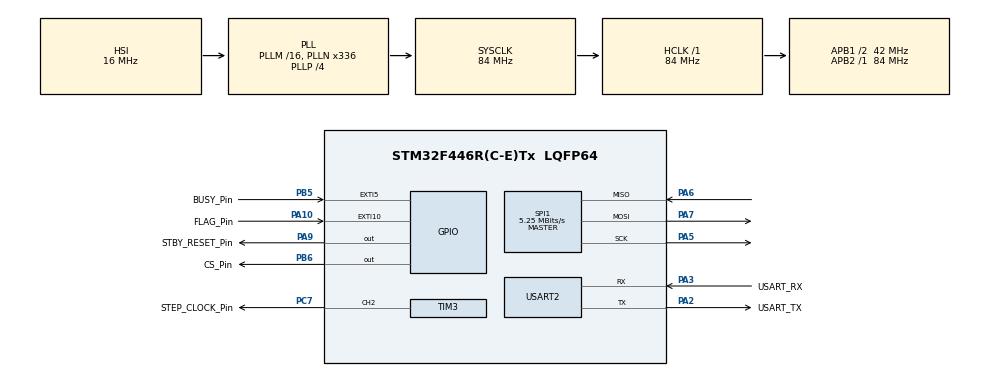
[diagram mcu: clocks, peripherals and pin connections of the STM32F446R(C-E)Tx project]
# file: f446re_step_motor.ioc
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Mcu.Family=STM32F4
Mcu.Name=STM32F446R(C-E)Tx
Mcu.Package=LQFP64
NVIC.EXTI15_10_IRQn=true\:0\:0\:false\:false\:true\:true\:true\:true
NVIC.EXTI9_5_IRQn=true\:0\:0\:false\:false\:true\:true\:true\:true
NVIC.PriorityGroup=NVIC_PRIORITYGROUP_0
NVIC.TIM3_IRQn=true\:0\:0\:false\:false\:true\:true\:true\:true
NVIC.USART2_IRQn=true\:0\:0\:false\:false\:true\:true\:true\:true
PA10.GPIO_Label=FLAG_Pin
PA10.GPIO_ModeDefaultEXTI=GPIO_MODE_IT_FALLING
PA10.Signal=GPXTI10
PA13.GPIO_Label=TMS
PA13.Mode=Serial_Wire
PA13.Signal=SYS_JTMS-SWDIO
PA14.GPIO_Label=TCK
PA14.Mode=Serial_Wire
PA14.Signal=SYS_JTCK-SWCLK
PA2.GPIO_Label=USART_TX
PA2.Mode=Asynchronous
PA2.Signal=USART2_TX
PA3.GPIO_Label=USART_RX
PA3.Mode=Asynchronous
PA3.Signal=USART2_RX
PA5.Mode=Full_Duplex_Master
PA5.Signal=SPI1_SCK
PA6.Mode=Full_Duplex_Master
PA6.Signal=SPI1_MISO
PA7.Mode=Full_Duplex_Master
PA7.Signal=SPI1_MOSI
PA9.GPIO_Label=STBY_RESET_Pin
PA9.PinState=GPIO_PIN_SET
PA9.Signal=GPIO_Output
PB5.GPIO_Label=BUSY_Pin
PB5.GPIO_ModeDefaultEXTI=GPIO_MODE_IT_FALLING
PB5.Signal=GPXTI5
PB6.GPIO_Label=CS_Pin
PB6.PinState=GPIO_PIN_SET
PB6.Signal=GPIO_Output
PC7.GPIO_Label=STEP_CLOCK_Pin
PC7.Signal=S_TIM3_CH2
ProjectManager.HeapSize=0x200
ProjectManager.StackSize=0x400
ProjectManager.TargetToolchain=STM32CubeIDE
RCC.48MHZClocksFreq_Value=84000000
RCC.AHBFreq_Value=84000000
RCC.APB1CLKDivider=RCC_HCLK_DIV2
RCC.APB1Freq_Value=42000000
RCC.APB1TimFreq_Value=84000000
RCC.APB2Freq_Value=84000000
RCC.APB2TimFreq_Value=84000000
RCC.CortexFreq_Value=84000000
RCC.FLatency-AdvancedSettings=FLASH_LATENCY_2
RCC.HCLKFreq_Value=84000000
RCC.HSE_VALUE=8000000
RCC.HSI_VALUE=16000000
RCC.PLLN=336
RCC.PLLP=RCC_PLLP_DIV4
RCC.SYSCLKFreq_VALUE=84000000
RCC.SYSCLKSource=RCC_SYSCLKSOURCE_PLLCLK
RCC.USBFreq_Value=168000000
RCC.VCOOutputFreq_Value=336000000
SH.S_TIM3_CH2.0=TIM3_CH2,PWM Generation2 CH2
SPI1.BaudRatePrescaler=SPI_BAUDRATEPRESCALER_16
SPI1.CLKPhase=SPI_PHASE_2EDGE
SPI1.CalculateBaudRate=5.25 MBits/s
SPI1.Direction=SPI_DIRECTION_2LINES
SPI1.Mode=SPI_MODE_MASTER
SPI1.VirtualType=VM_MASTER
TIM3.Channel-PWM\ Generation2\ CH2=TIM_CHANNEL_2
USART2.VirtualMode=VM_ASYNC
board=NUCLEO-F446RE

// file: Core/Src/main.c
/* USER CODE BEGIN Header */
/**
  ******************************************************************************
  * @file           : main.c
  * @brief          : Main program body
  ******************************************************************************
  * @attention
  *
  * Copyright (c) 2025 STMicroelectronics.
  * All rights reserved.
  *
  * This software is licensed under terms that can be found in the LICENSE file
  * in the root directory of this software component.
  * If no LICENSE file comes with this software, it is provided AS-IS.
  *
  ******************************************************************************
  */
/* USER CODE END Header */
#include "main.h"

/* USER CODE BEGIN Includes */
#include "x_nucleo_ihmxx.h"
#include "x_nucleo_ihm03a1_stm32f4xx.h"
#include "powerstep01.h"
#include <string.h>
#include <stdio.h>
/* USER CODE END Includes */

/* USER CODE BEGIN PD */
#define RX_BUFFER_SIZE 128
#define TX_BUFFER_SIZE 128
#define MAX_MOTOR_STEPS 999999L   // Match GUI max position
#define MIN_MOTOR_STEPS -999999L  // Match GUI min position
#define MAIN_LOOP_DELAY 50        // milliseconds - faster loop for responsiveness
/* USER CODE END PD */

SPI_HandleTypeDef hspi1;

TIM_HandleTypeDef htim3;

UART_HandleTypeDef huart2;

/* USER CODE BEGIN PV */
static volatile uint16_t gLastError;
static uint8_t rx_buffer[RX_BUFFER_SIZE];
static uint8_t tx_buffer[TX_BUFFER_SIZE];
static volatile uint32_t rx_index = 0;
static volatile uint8_t command_ready = 0;

static volatile int32_t motor0_target = 0;
static volatile int32_t motor1_target = 0;
static uint8_t uart_rx_byte;
static uint8_t command_buffer[RX_BUFFER_SIZE];
static volatile uint32_t cmd_index = 0;

// Timing variables for status updates
static volatile uint32_t last_status_update = 0;
static volatile uint32_t system_tick = 0;
/* USER CODE END PV */

void SystemClock_Config(void);
static void MX_GPIO_Init(void);
static void MX_USART2_UART_Init(void);
static void MX_SPI1_Init(void);
static void MX_TIM3_Init(void);
/* USER CODE BEGIN PFP */
static void MyBusyInterruptHandler(void);
static void MyFlagInterruptHandler(void);
static void MyErrorHandler(uint16_t error);

static void UART_SendString(const char *str);
static void UART_ReceiveChar(uint8_t ch);
static void ParseCommand(void);
static void SendMotorStatus(uint8_t motor_id);
static void SendError(uint8_t motor_id, const char *error_type, const char *description);
static void MoveMotorsToPosition(int32_t motor0_pos, int32_t motor1_pos);
static void CheckMotorErrors(uint8_t motor_id);
/* USER CODE END PFP */

int main(void)
{

  /* MCU Configuration--------------------------------------------------------*/

  /* Reset of all peripherals, Initializes the Flash interface and the Systick. */
  HAL_Init();

  /* Configure the system clock */
  SystemClock_Config();

  /* Initialize all configured peripherals */
  MX_GPIO_Init();
  MX_USART2_UART_Init();
  MX_SPI1_Init();
  MX_TIM3_Init();
  /* USER CODE BEGIN 2 */
  BSP_MotorControl_SetNbDevices(BSP_MOTOR_CONTROL_BOARD_ID_POWERSTEP01, 2);
  BSP_MotorControl_Init(BSP_MOTOR_CONTROL_BOARD_ID_POWERSTEP01, NULL);
  BSP_MotorControl_Init(BSP_MOTOR_CONTROL_BOARD_ID_POWERSTEP01, NULL);
  BSP_MotorControl_AttachFlagInterrupt(MyFlagInterruptHandler);
  BSP_MotorControl_AttachBusyInterrupt(MyBusyInterruptHandler);
  BSP_MotorControl_AttachErrorHandler(MyErrorHandler);
  BSP_MotorControl_CmdResetPos(0);
  BSP_MotorControl_CmdResetPos(1);
  HAL_UART_Receive_IT(&huart2, &uart_rx_byte, 1);

  system_tick = 0;
  last_status_update = 0;
  UART_SendString("SYSTEM,READY\n");
  /* USER CODE END 2 */

  /* Infinite loop */
  while (1)
  {

    /* USER CODE BEGIN 3 */
	    // Process incoming commands
	    if (command_ready)
	    {
	      command_ready = 0;
	      ParseCommand();
	    }

	    // Small delay to prevent busy-waiting, but fast enough for responsiveness
	    HAL_Delay(MAIN_LOOP_DELAY);

  }
  /* USER CODE END 3 */
}

void SystemClock_Config(void)
{
  RCC_OscInitTypeDef RCC_OscInitStruct = {0};
  RCC_ClkInitTypeDef RCC_ClkInitStruct = {0};

  /** Configure the main internal regulator output voltage
  */
  __HAL_RCC_PWR_CLK_ENABLE();
  __HAL_PWR_VOLTAGESCALING_CONFIG(PWR_REGULATOR_VOLTAGE_SCALE3);

  /** Initializes the RCC Oscillators according to the specified parameters
  * in the RCC_OscInitTypeDef structure.
  */
  RCC_OscInitStruct.OscillatorType = RCC_OSCILLATORTYPE_HSI;
  RCC_OscInitStruct.HSIState = RCC_HSI_ON;
  RCC_OscInitStruct.HSICalibrationValue = RCC_HSICALIBRATION_DEFAULT;
  RCC_OscInitStruct.PLL.PLLState = RCC_PLL_ON;
  RCC_OscInitStruct.PLL.PLLSource = RCC_PLLSOURCE_HSI;
  RCC_OscInitStruct.PLL.PLLM = 16;
  RCC_OscInitStruct.PLL.PLLN = 336;
  RCC_OscInitStruct.PLL.PLLP = RCC_PLLP_DIV4;
  RCC_OscInitStruct.PLL.PLLQ = 2;
  RCC_OscInitStruct.PLL.PLLR = 2;
  if (HAL_RCC_OscConfig(&RCC_OscInitStruct) != HAL_OK)
  {
    Error_Handler();
  }

  /** Initializes the CPU, AHB and APB buses clocks
  */
  RCC_ClkInitStruct.ClockType = RCC_CLOCKTYPE_HCLK|RCC_CLOCKTYPE_SYSCLK
                              |RCC_CLOCKTYPE_PCLK1|RCC_CLOCKTYPE_PCLK2;
  RCC_ClkInitStruct.SYSCLKSource = RCC_SYSCLKSOURCE_PLLCLK;
  RCC_ClkInitStruct.AHBCLKDivider = RCC_SYSCLK_DIV1;
  RCC_ClkInitStruct.APB1CLKDivider = RCC_HCLK_DIV2;
  RCC_ClkInitStruct.APB2CLKDivider = RCC_HCLK_DIV1;

  if (HAL_RCC_ClockConfig(&RCC_ClkInitStruct, FLASH_LATENCY_2) != HAL_OK)
  {
    Error_Handler();
  }
}

static void MX_SPI1_Init(void)
{

  /* SPI1 parameter configuration*/
  hspi1.Instance = SPI1;
  hspi1.Init.Mode = SPI_MODE_MASTER;
  hspi1.Init.Direction = SPI_DIRECTION_2LINES;
  hspi1.Init.DataSize = SPI_DATASIZE_8BIT;
  hspi1.Init.CLKPolarity = SPI_POLARITY_LOW;
  hspi1.Init.CLKPhase = SPI_PHASE_2EDGE;
  hspi1.Init.NSS = SPI_NSS_SOFT;
  hspi1.Init.BaudRatePrescaler = SPI_BAUDRATEPRESCALER_16;
  hspi1.Init.FirstBit = SPI_FIRSTBIT_MSB;
  hspi1.Init.TIMode = SPI_TIMODE_DISABLE;
  hspi1.Init.CRCCalculation = SPI_CRCCALCULATION_DISABLE;
  hspi1.Init.CRCPolynomial = 10;
  if (HAL_SPI_Init(&hspi1) != HAL_OK)
  {
    Error_Handler();
  }

}

static void MX_TIM3_Init(void)
{

  TIM_MasterConfigTypeDef sMasterConfig = {0};
  TIM_OC_InitTypeDef sConfigOC = {0};

  htim3.Instance = TIM3;
  htim3.Init.Prescaler = 0;
  htim3.Init.CounterMode = TIM_COUNTERMODE_UP;
  htim3.Init.Period = 65535;
  htim3.Init.ClockDivision = TIM_CLOCKDIVISION_DIV1;
  htim3.Init.AutoReloadPreload = TIM_AUTORELOAD_PRELOAD_DISABLE;
  if (HAL_TIM_PWM_Init(&htim3) != HAL_OK)
  {
    Error_Handler();
  }
  sMasterConfig.MasterOutputTrigger = TIM_TRGO_RESET;
  sMasterConfig.MasterSlaveMode = TIM_MASTERSLAVEMODE_DISABLE;
  if (HAL_TIMEx_MasterConfigSynchronization(&htim3, &sMasterConfig) != HAL_OK)
  {
    Error_Handler();
  }
  sConfigOC.OCMode = TIM_OCMODE_PWM1;
  sConfigOC.Pulse = 0;
  sConfigOC.OCPolarity = TIM_OCPOLARITY_HIGH;
  sConfigOC.OCFastMode = TIM_OCFAST_DISABLE;
  if (HAL_TIM_PWM_ConfigChannel(&htim3, &sConfigOC, TIM_CHANNEL_2) != HAL_OK)
  {
    Error_Handler();
  }
  HAL_TIM_MspPostInit(&htim3);

}

static void MX_USART2_UART_Init(void)
{

  huart2.Instance = USART2;
  huart2.Init.BaudRate = 115200;
  huart2.Init.WordLength = UART_WORDLENGTH_8B;
  huart2.Init.StopBits = UART_STOPBITS_1;
  huart2.Init.Parity = UART_PARITY_NONE;
  huart2.Init.Mode = UART_MODE_TX_RX;
  huart2.Init.HwFlowCtl = UART_HWCONTROL_NONE;
  huart2.Init.OverSampling = UART_OVERSAMPLING_16;
  if (HAL_UART_Init(&huart2) != HAL_OK)
  {
    Error_Handler();
  }

}

static void MX_GPIO_Init(void)
{
  GPIO_InitTypeDef GPIO_InitStruct = {0};

  /* GPIO Ports Clock Enable */
  __HAL_RCC_GPIOA_CLK_ENABLE();
  __HAL_RCC_GPIOC_CLK_ENABLE();
  __HAL_RCC_GPIOB_CLK_ENABLE();

  /*Configure GPIO pin Output Level */
  HAL_GPIO_WritePin(STBY_RESET_Pin_GPIO_Port, STBY_RESET_Pin_Pin, GPIO_PIN_SET);

  /*Configure GPIO pin Output Level */
  HAL_GPIO_WritePin(CS_Pin_GPIO_Port, CS_Pin_Pin, GPIO_PIN_SET);

  /*Configure GPIO pin : STBY_RESET_Pin_Pin */
  GPIO_InitStruct.Pin = STBY_RESET_Pin_Pin;
  GPIO_InitStruct.Mode = GPIO_MODE_OUTPUT_PP;
  GPIO_InitStruct.Pull = GPIO_NOPULL;
  GPIO_InitStruct.Speed = GPIO_SPEED_FREQ_LOW;
  HAL_GPIO_Init(STBY_RESET_Pin_GPIO_Port, &GPIO_InitStruct);

  /*Configure GPIO pin : FLAG_Pin_Pin */
  GPIO_InitStruct.Pin = FLAG_Pin_Pin;
  GPIO_InitStruct.Mode = GPIO_MODE_IT_FALLING;
  GPIO_InitStruct.Pull = GPIO_NOPULL;
  HAL_GPIO_Init(FLAG_Pin_GPIO_Port, &GPIO_InitStruct);

  /*Configure GPIO pin : BUSY_Pin_Pin */
  GPIO_InitStruct.Pin = BUSY_Pin_Pin;
  GPIO_InitStruct.Mode = GPIO_MODE_IT_FALLING;
  GPIO_InitStruct.Pull = GPIO_NOPULL;
  HAL_GPIO_Init(BUSY_Pin_GPIO_Port, &GPIO_InitStruct);

  /*Configure GPIO pin : CS_Pin_Pin */
  GPIO_InitStruct.Pin = CS_Pin_Pin;
  GPIO_InitStruct.Mode = GPIO_MODE_OUTPUT_PP;
  GPIO_InitStruct.Pull = GPIO_NOPULL;
  GPIO_InitStruct.Speed = GPIO_SPEED_FREQ_LOW;
  HAL_GPIO_Init(CS_Pin_GPIO_Port, &GPIO_InitStruct);

  /* EXTI interrupt init*/
  HAL_NVIC_SetPriority(EXTI9_5_IRQn, 0, 0);
  HAL_NVIC_EnableIRQ(EXTI9_5_IRQn);

  HAL_NVIC_SetPriority(EXTI15_10_IRQn, 0, 0);
  HAL_NVIC_EnableIRQ(EXTI15_10_IRQn);

}

/* USER CODE BEGIN 4 */
void UART_SendString(const char *str)
{
  HAL_UART_Transmit(&huart2, (uint8_t *)str, strlen(str), 100);
}

void UART_ReceiveChar(uint8_t ch)
{
  // Check for buffer overflow BEFORE writing
  if (cmd_index >= RX_BUFFER_SIZE - 1)
  {
    // Buffer full - reset and report error
    cmd_index = 0;
    SendError(0, "BUFFER_OVERFLOW", "Command too long");
    return;
  }

  if (ch == '\n' || ch == '\r')
  {
    if (cmd_index > 0)  // Only process if we have data
    {
      command_buffer[cmd_index] = '\0';
      // Copy to rx_buffer for processing
      memcpy(rx_buffer, command_buffer, cmd_index + 1);
      command_ready = 1;
    }
    cmd_index = 0;
  }
  else
  {
    command_buffer[cmd_index++] = ch;
  }
}

void SendMotorStatus(uint8_t motor_id)
{
  uint16_t statusRegister = BSP_MotorControl_CmdGetStatus(motor_id);
  int32_t position = BSP_MotorControl_GetPosition(motor_id);

  // Extract status flags
  uint8_t is_moving = ((statusRegister & POWERSTEP01_STATUS_BUSY) == 0) ? 1 : 0;
  uint8_t has_error = 0;

  // Check for any error conditions
  if (((statusRegister & POWERSTEP01_STATUS_UVLO) == 0) ||
      ((statusRegister & POWERSTEP01_STATUS_OCD) == 0) ||
      ((statusRegister & POWERSTEP01_STATUS_STALL_A) == 0) ||
      ((statusRegister & POWERSTEP01_STATUS_STALL_B) == 0) ||
      (statusRegister & POWERSTEP01_STATUS_CMD_ERROR) ||
      (statusRegister & POWERSTEP01_STATUS_TH_STATUS))
  {
    has_error = 1;
  }

  // Send compact status
  snprintf((char *)tx_buffer, TX_BUFFER_SIZE,
           "STATUS,%d,%ld,%d,%d,0x%04X\n",
           motor_id, position, is_moving, has_error, statusRegister);
  UART_SendString((const char *)tx_buffer);
}

void SendError(uint8_t motor_id, const char *error_type, const char *description)
{
  snprintf((char *)tx_buffer, TX_BUFFER_SIZE, "ERROR,%d,%s,%s\n", motor_id, error_type, description);
  UART_SendString((const char *)tx_buffer);
}

void ParseCommand(void)
{
  char *cmd = (char *)rx_buffer;

  // Ignore empty commands
  if (strlen(cmd) == 0)
  {
    return;
  }

  // Debug: Echo back what was received (safely truncated)
  snprintf((char *)tx_buffer, TX_BUFFER_SIZE, "DEBUG,RX:[%.20s]\n", cmd);
  UART_SendString((const char *)tx_buffer);

  if (strncmp(cmd, "MOVE", 4) == 0)
  {
    int32_t motor0_steps, motor1_steps;
    if (sscanf(cmd, "MOVE,%ld,%ld", &motor0_steps, &motor1_steps) == 2)
    {
      // Validate step values
      if (motor0_steps < MIN_MOTOR_STEPS || motor0_steps > MAX_MOTOR_STEPS ||
          motor1_steps < MIN_MOTOR_STEPS || motor1_steps > MAX_MOTOR_STEPS)
      {
        SendError(0, "RANGE_ERROR", "Step value out of range");
        return;
      }

      // Queue both motors
      motor0_target = motor0_steps;
      motor1_target = motor1_steps;
      MoveMotorsToPosition(motor0_target, motor1_target);

      // Send confirmation with actual values
      snprintf((char *)tx_buffer, TX_BUFFER_SIZE, "OK,MOVE,%ld,%ld\n",
               motor0_steps, motor1_steps);
      UART_SendString((const char *)tx_buffer);
    }
    else
    {
      SendError(0, "PARSE_ERROR", "Invalid MOVE format");
    }
  }
  else if (strncmp(cmd, "STOP", 4) == 0)
  {
    UART_SendString("OK,STOPPING\n");
    BSP_MotorControl_CmdSoftStop(0);
    BSP_MotorControl_CmdSoftStop(1);
  }
  else if (strncmp(cmd, "HOME", 4) == 0)
  {
    // Move to position 0,0
    MoveMotorsToPosition(0, 0);
    UART_SendString("OK,HOMING\n");
  }
  else if (strncmp(cmd, "STATUS", 6) == 0)
  {
    // Check for CLEAR flag
    if (strstr(cmd, "CLEAR") != NULL)
    {
      BSP_MotorControl_CmdGetStatus(0); // Clear error flags
      BSP_MotorControl_CmdGetStatus(1);
      UART_SendString("OK,STATUS_CLEARED\n");
    }
    SendMotorStatus(0);
    SendMotorStatus(1);
  }
  else if (strncmp(cmd, "RESET", 5) == 0)
  {
    BSP_MotorControl_CmdGetStatus(0); // Clear error flags
    BSP_MotorControl_CmdGetStatus(1);
    BSP_MotorControl_CmdResetPos(0);
    BSP_MotorControl_CmdResetPos(1);
    UART_SendString("OK,RESET_COMPLETE\n");
  }
  else if (strncmp(cmd, "HIZ", 3) == 0)
  {
    UART_SendString("OK,HIZ\n");
    BSP_MotorControl_CmdHardHiZ(0);
    BSP_MotorControl_CmdHardHiZ(1);
  }
  else
  {
    // Safely truncate unknown command in error message
    snprintf((char *)tx_buffer, TX_BUFFER_SIZE, "ERROR,UNKNOWN,%.20s\n", cmd);
    UART_SendString((const char *)tx_buffer);
  }
}

void MoveMotorsToPosition(int32_t motor0_pos, int32_t motor1_pos)
{
	BSP_MotorControl_QueueCommands(0,POWERSTEP01_GO_TO, motor0_pos);
	BSP_MotorControl_QueueCommands(1,POWERSTEP01_GO_TO, motor1_pos);
	BSP_MotorControl_SendQueuedCommands();
}

void CheckMotorErrors(uint8_t motor_id)
{
  uint16_t statusRegister = BSP_MotorControl_CmdGetStatus(motor_id);

  if ((statusRegister & POWERSTEP01_STATUS_HIZ) == POWERSTEP01_STATUS_HIZ)
  {
    SendError(motor_id, "HIZ_STATE", "Power bridges disabled");
  }

  if ((statusRegister & POWERSTEP01_STATUS_CMD_ERROR) == POWERSTEP01_STATUS_CMD_ERROR)
  {
    SendError(motor_id, "CMD_ERROR", "Command could not be performed");
  }

  if ((statusRegister & POWERSTEP01_STATUS_UVLO) == 0)
  {
    SendError(motor_id, "UVLO", "Undervoltage lock-out");
  }

  if ((statusRegister & POWERSTEP01_STATUS_UVLO_ADC) == 0)
  {
    SendError(motor_id, "UVLO_ADC", "ADC undervoltage lock-out");
  }

  if ((statusRegister & POWERSTEP01_STATUS_TH_STATUS) != 0)
  {
    SendError(motor_id, "THERMAL", "Thermal warning or shutdown");
  }

  if ((statusRegister & POWERSTEP01_STATUS_OCD) == 0)
  {
    SendError(motor_id, "OCD", "Overcurrent detection");
  }

  if ((statusRegister & POWERSTEP01_STATUS_STALL_A) == 0)
  {
    SendError(motor_id, "STALL_A", "Stall on bridge A");
  }

  if ((statusRegister & POWERSTEP01_STATUS_STALL_B) == 0)
  {
    SendError(motor_id, "STALL_B", "Stall on bridge B");
  }
}

void MyFlagInterruptHandler(void)
{
  // Check errors for both motors
  CheckMotorErrors(0);
  CheckMotorErrors(1);
}

void MyBusyInterruptHandler(void)
{
   if (BSP_MotorControl_CheckBusyHw())
   {
     // Busy signal active
   }
   else
   {
     // Busy signal inactive
   }
}

void MyErrorHandler(uint16_t error)
{
  gLastError = error;
  snprintf((char *)tx_buffer, TX_BUFFER_SIZE, "ERROR,0,SYSTEM_ERROR,0x%04X\n", error);
  UART_SendString((const char *)tx_buffer);

  while(1)
  {
  }
}

void HAL_UART_RxCpltCallback(UART_HandleTypeDef *huart)
{
  if (huart->Instance == USART2)
  {
    UART_ReceiveChar(uart_rx_byte);
    // Re-enable interrupt for next byte
    HAL_UART_Receive_IT(&huart2, &uart_rx_byte, 1);
  }
}
/* USER CODE END 4 */

void Error_Handler(void)
{
  __disable_irq();
  while (1)
  {
  }
}
